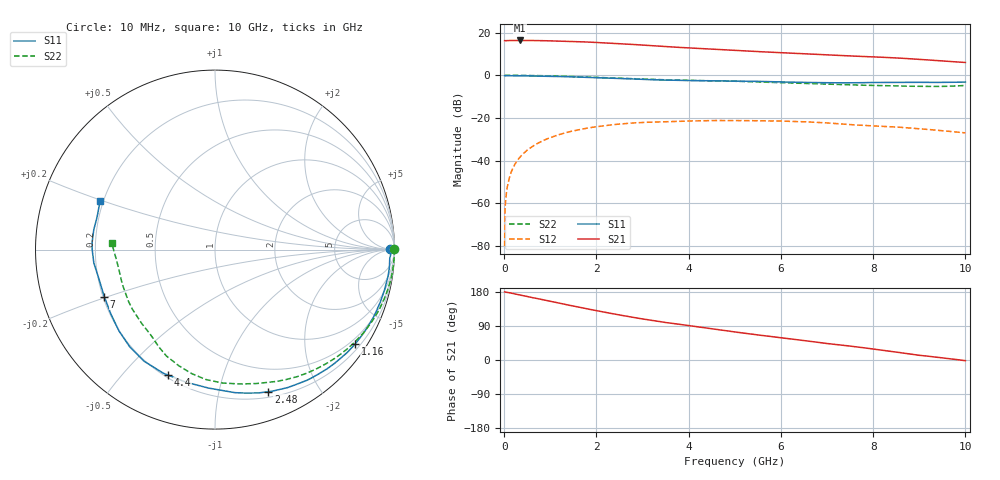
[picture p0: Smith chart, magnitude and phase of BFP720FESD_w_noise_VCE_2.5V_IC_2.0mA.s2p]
! Infineon Technologies  Discrete & RF Semiconductors
! BFP720FESD
! VCE =  2.5 V,  IC =  2.0 mA
! Common Emitter S-Parameters:  Jan 2016
# GHz  S  MA  R  50
!  f  S11  S21  S12  S22
! GHz  MAG  ANG  MAG  ANG  MAG  ANG  MAG  ANG
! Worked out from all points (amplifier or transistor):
!   233 points, 10 MHz to 10 GHz, reference 50 ohm
!   highest |S21| = 16.3 dB at 340 MHz (marker M1)
!   |S21| within 3 dB of that: start of sweep to 3.596 GHz
!   unconditionally stable (mu >= 1): 8.689 GHz to end of sweep
!   at 200 MHz: K = 0.00, MSG = 29.6 dB, |S12| = -43.0 dB
!   at 1.74 GHz: K = 0.11, MSG = 20.3 dB, |S12| = -25.0 dB
!   at 10 GHz: K = 1.57, MAG = 12.0 dB, |S12| = -27.0 dB
!   lowest NFmin = 0.41 dB at 450 MHz
!   S11 on the Smith chart (normalised r, x): 10 MHz: 79, +17; 1.16 GHz: 0.36, -3.26; 2.48 GHz: 0.25, -1.41; 4.4 GHz: 0.21, -0.67; 7 GHz: 0.21, -0.20; 10 GHz: 0.19, +0.19
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0.01  0.9761 0.3  6.479 179.7  0.0001 -44.5  0.9965 0.2
0.02  0.9775 -0.6  6.453 179.7  0.0007 94.9  0.9988 -0.4
0.03  0.9781 -1.0  6.454 179.4  0.0011 93.6  0.9989 -0.6
0.07  0.9776 -2.1  6.476 178.4  0.0025 90.3  0.9993 -1.5
0.185  0.9764 -5.5  6.529 175.7  0.0066 86.0  0.9984 -4.1
0.34  0.9737 -9.9  6.538 171.7  0.012 83.1  0.9959 -7.5
0.7  0.9629 -20.5  6.5 162.6  0.0246 75.2  0.9839 -15.5
1.16  0.9411 -33.8  6.344 150.9  0.0399 65.0  0.9585 -25.8
1.4  0.9255 -40.8  6.236 144.7  0.0473 59.7  0.9414 -31.2
1.68  0.9064 -48.6  6.085 137.9  0.055 53.5  0.9194 -37.4
2.08  0.8765 -59.1  5.805 128.4  0.0641 45.3  0.8862 -46.0
2.48  0.8458 -69.4  5.518 119.4  0.0719 37.6  0.8531 -54.5
3  0.8046 -82.1  5.106 108.2  0.0789 28.0  0.8117 -64.7
3.4  0.7768 -90.4  4.768 100.9  0.0815 21.9  0.7866 -71.0
4.4  0.7465 -110.6  4.158 84.2  0.0868 9.1  0.7469 -85.3
5.1  0.7322 -124.3  3.783 72.5  0.0873 0.2  0.72 -95.4
6  0.7014 -139.6  3.399 58.7  0.0849 -10.2  0.6771 -107.5
6.8  0.6731 -153.4  3.09 46.7  0.0787 -18.9  0.6349 -117.9
7  0.6702 -157.0  3.019 43.5  0.0767 -21.1  0.6248 -120.3
8.4  0.6847 179.7  2.582 22.5  0.0623 -28.0  0.5677 -144.2
9  0.6844 170.6  2.37 12.4  0.0562 -31.1  0.5514 -159.5
10  0.6949 157.3  1.995 -1.8  0.0448 -31.5  0.5778 176.1
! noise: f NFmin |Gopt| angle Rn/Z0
0.45  0.41  0.8  5  0.26
2.4  0.72  0.53  35  0.25
5.5  0.93  0.54  105  0.15
10  1.76  0.44  -167  0.09
